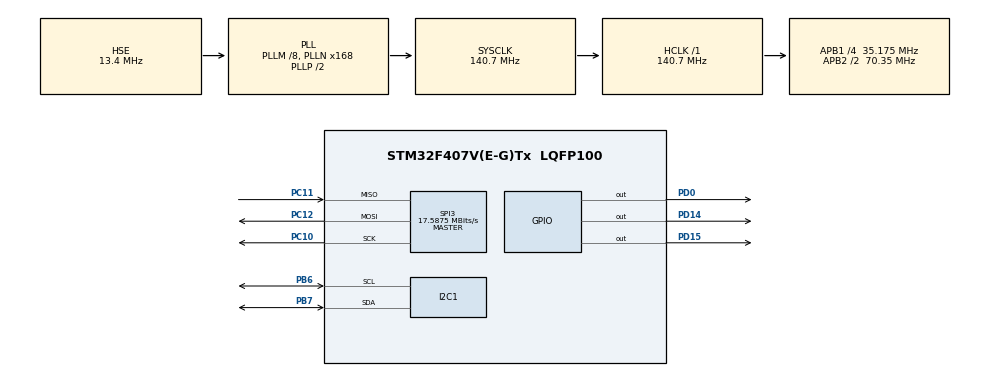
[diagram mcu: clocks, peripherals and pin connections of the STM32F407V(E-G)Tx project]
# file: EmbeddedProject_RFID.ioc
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I2C1.I2C_Mode=I2C_Fast
Mcu.Family=STM32F4
Mcu.Name=STM32F407V(E-G)Tx
Mcu.Package=LQFP100
NVIC.PriorityGroup=NVIC_PRIORITYGROUP_4
PB6.Mode=I2C
PB6.Signal=I2C1_SCL
PB7.Mode=I2C
PB7.Signal=I2C1_SDA
PC10.Mode=Full_Duplex_Master
PC10.Signal=SPI3_SCK
PC11.Mode=Full_Duplex_Master
PC11.Signal=SPI3_MISO
PC12.Mode=Full_Duplex_Master
PC12.Signal=SPI3_MOSI
PD0.Signal=GPIO_Output
PD14.Signal=GPIO_Output
PD15.Signal=GPIO_Output
PH0-OSC_IN.Mode=HSE-External-Oscillator
PH0-OSC_IN.Signal=RCC_OSC_IN
PH1-OSC_OUT.Mode=HSE-External-Oscillator
PH1-OSC_OUT.Signal=RCC_OSC_OUT
ProjectManager.HeapSize=0x200
ProjectManager.StackSize=0x400
ProjectManager.TargetToolchain=STM32CubeIDE
RCC.48MHZClocksFreq_Value=70350000
RCC.AHBFreq_Value=140700000
RCC.APB1CLKDivider=RCC_HCLK_DIV4
RCC.APB1Freq_Value=35175000
RCC.APB1TimFreq_Value=70350000
RCC.APB2CLKDivider=RCC_HCLK_DIV2
RCC.APB2Freq_Value=70350000
RCC.APB2TimFreq_Value=140700000
RCC.CortexFreq_Value=140700000
RCC.HCLKFreq_Value=140700000
RCC.HSE_VALUE=13400000
RCC.HSI_VALUE=16000000
RCC.LSE_VALUE=32768
RCC.PLLM=8
RCC.PLLN=168
RCC.PLLSourceVirtual=RCC_PLLSOURCE_HSE
RCC.SYSCLKFreq_VALUE=140700000
RCC.SYSCLKSource=RCC_SYSCLKSOURCE_PLLCLK
RCC.VCOOutputFreq_Value=281400000
SPI3.BaudRatePrescaler=SPI_BAUDRATEPRESCALER_2
SPI3.CalculateBaudRate=17.5875 MBits/s
SPI3.Direction=SPI_DIRECTION_2LINES
SPI3.Mode=SPI_MODE_MASTER
SPI3.VirtualType=VM_MASTER
VP_CRC_VS_CRC.Mode=CRC_Activate
board=custom

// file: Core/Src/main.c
/* USER CODE BEGIN Header */
/**
  ******************************************************************************
  * @file           : main.c
  * @brief          : Main program body
  ******************************************************************************
  * @attention
  *
  * Copyright (c) 2024 STMicroelectronics.
  * All rights reserved.
  *
  * This software is licensed under terms that can be found in the LICENSE file
  * in the root directory of this software component.
  * If no LICENSE file comes with this software, it is provided AS-IS.
  *
  ******************************************************************************
  */
/* USER CODE END Header */
#include "main.h"

/* USER CODE BEGIN Includes */
#include "rc522.h"
#include "i2c-lcd.h"
#include "ssd1306.h"
/* USER CODE END Includes */

CRC_HandleTypeDef hcrc;

I2C_HandleTypeDef hi2c1;

SPI_HandleTypeDef hspi3;

/* USER CODE BEGIN PV */
char CardID[4];
char MyCardID[4] = {343,263,227,179};
char lcd_buf[15];
/* USER CODE END PV */
//83,131
void SystemClock_Config(void);
static void MX_GPIO_Init(void);
static void MX_SPI3_Init(void);
static void MX_CRC_Init(void);
static void MX_I2C1_Init(void);

int main(void)
{

  /* MCU Configuration--------------------------------------------------------*/

  /* Reset of all peripherals, Initializes the Flash interface and the Systick. */
  HAL_Init();

  /* Configure the system clock */
  SystemClock_Config();

  /* Initialize all configured peripherals */
  MX_GPIO_Init();
  MX_SPI3_Init();
  MX_CRC_Init();
  MX_I2C1_Init();
  /* USER CODE BEGIN 2 */
  HAL_Delay(20);
  MFRC522_Init();
  ssd1306_Init();
  /* USER CODE END 2 */

  /* Infinite loop */
  while (1)
  {
	  //ssd1306_SetCursor(0,0);
	  	  	//ssd1306_WriteString(lcd_buf, Font_7x10 , White);
	  	  	RFID_Id_Check();
	  	  	//RFID_Id_Check();
	  	  	//ssd1306_UpdateScreen();

	    HAL_Delay(250);
  }
}

void SystemClock_Config(void)
{
  RCC_OscInitTypeDef RCC_OscInitStruct = {0};
  RCC_ClkInitTypeDef RCC_ClkInitStruct = {0};

  /** Configure the main internal regulator output voltage
  */
  __HAL_RCC_PWR_CLK_ENABLE();
  __HAL_PWR_VOLTAGESCALING_CONFIG(PWR_REGULATOR_VOLTAGE_SCALE1);

  /** Initializes the RCC Oscillators according to the specified parameters
  * in the RCC_OscInitTypeDef structure.
  */
  RCC_OscInitStruct.OscillatorType = RCC_OSCILLATORTYPE_HSE;
  RCC_OscInitStruct.HSEState = RCC_HSE_ON;
  RCC_OscInitStruct.PLL.PLLState = RCC_PLL_ON;
  RCC_OscInitStruct.PLL.PLLSource = RCC_PLLSOURCE_HSE;
  RCC_OscInitStruct.PLL.PLLM = 8;
  RCC_OscInitStruct.PLL.PLLN = 168;
  RCC_OscInitStruct.PLL.PLLP = RCC_PLLP_DIV2;
  RCC_OscInitStruct.PLL.PLLQ = 4;
  if (HAL_RCC_OscConfig(&RCC_OscInitStruct) != HAL_OK)
  {
    Error_Handler();
  }

  /** Initializes the CPU, AHB and APB buses clocks
  */
  RCC_ClkInitStruct.ClockType = RCC_CLOCKTYPE_HCLK|RCC_CLOCKTYPE_SYSCLK
                              |RCC_CLOCKTYPE_PCLK1|RCC_CLOCKTYPE_PCLK2;
  RCC_ClkInitStruct.SYSCLKSource = RCC_SYSCLKSOURCE_PLLCLK;
  RCC_ClkInitStruct.AHBCLKDivider = RCC_SYSCLK_DIV1;
  RCC_ClkInitStruct.APB1CLKDivider = RCC_HCLK_DIV4;
  RCC_ClkInitStruct.APB2CLKDivider = RCC_HCLK_DIV2;

  if (HAL_RCC_ClockConfig(&RCC_ClkInitStruct, FLASH_LATENCY_4) != HAL_OK)
  {
    Error_Handler();
  }
}

static void MX_CRC_Init(void)
{

  hcrc.Instance = CRC;
  if (HAL_CRC_Init(&hcrc) != HAL_OK)
  {
    Error_Handler();
  }

}

static void MX_I2C1_Init(void)
{

  hi2c1.Instance = I2C1;
  hi2c1.Init.ClockSpeed = 400000;
  hi2c1.Init.DutyCycle = I2C_DUTYCYCLE_2;
  hi2c1.Init.OwnAddress1 = 0;
  hi2c1.Init.AddressingMode = I2C_ADDRESSINGMODE_7BIT;
  hi2c1.Init.DualAddressMode = I2C_DUALADDRESS_DISABLE;
  hi2c1.Init.OwnAddress2 = 0;
  hi2c1.Init.GeneralCallMode = I2C_GENERALCALL_DISABLE;
  hi2c1.Init.NoStretchMode = I2C_NOSTRETCH_DISABLE;
  if (HAL_I2C_Init(&hi2c1) != HAL_OK)
  {
    Error_Handler();
  }

}

static void MX_SPI3_Init(void)
{

  /* SPI3 parameter configuration*/
  hspi3.Instance = SPI3;
  hspi3.Init.Mode = SPI_MODE_MASTER;
  hspi3.Init.Direction = SPI_DIRECTION_2LINES;
  hspi3.Init.DataSize = SPI_DATASIZE_8BIT;
  hspi3.Init.CLKPolarity = SPI_POLARITY_LOW;
  hspi3.Init.CLKPhase = SPI_PHASE_1EDGE;
  hspi3.Init.NSS = SPI_NSS_SOFT;
  hspi3.Init.BaudRatePrescaler = SPI_BAUDRATEPRESCALER_2;
  hspi3.Init.FirstBit = SPI_FIRSTBIT_MSB;
  hspi3.Init.TIMode = SPI_TIMODE_DISABLE;
  hspi3.Init.CRCCalculation = SPI_CRCCALCULATION_DISABLE;
  hspi3.Init.CRCPolynomial = 10;
  if (HAL_SPI_Init(&hspi3) != HAL_OK)
  {
    Error_Handler();
  }

}

static void MX_GPIO_Init(void)
{
  GPIO_InitTypeDef GPIO_InitStruct = {0};

  /* GPIO Ports Clock Enable */
  __HAL_RCC_GPIOH_CLK_ENABLE();
  __HAL_RCC_GPIOD_CLK_ENABLE();
  __HAL_RCC_GPIOC_CLK_ENABLE();
  __HAL_RCC_GPIOB_CLK_ENABLE();

  /*Configure GPIO pin Output Level */
  HAL_GPIO_WritePin(GPIOD, GPIO_PIN_14|GPIO_PIN_15|GPIO_PIN_0, GPIO_PIN_RESET);

  /*Configure GPIO pins : PD14 PD15 PD0 */
  GPIO_InitStruct.Pin = GPIO_PIN_14|GPIO_PIN_15|GPIO_PIN_0;
  GPIO_InitStruct.Mode = GPIO_MODE_OUTPUT_PP;
  GPIO_InitStruct.Pull = GPIO_NOPULL;
  GPIO_InitStruct.Speed = GPIO_SPEED_FREQ_LOW;
  HAL_GPIO_Init(GPIOD, &GPIO_InitStruct);

}

/* USER CODE BEGIN 4 */
void RFID_Id_Check()
{
if (MFRC522_Check(CardID) == MI_OK)
{
	HAL_GPIO_WritePin(GPIOD, GPIO_PIN_14, GPIO_PIN_RESET);

		if(MFRC522_Compare(CardID, MyCardID) == MI_OK)
		{
		HAL_GPIO_WritePin(GPIOD, GPIO_PIN_15, GPIO_PIN_RESET);

		//sprintf(lcd_buf,"Geçerli Giriş");
		//ssd1306_SetCursor(0,1);
		//sprintf(lcd_buf,"Card ID: %c", CardID);
		HAL_Delay(500);
		//HAL_GPIO_WritePin(GPIOD, GPIO_PIN_15, GPIO_PIN_RESET);
		}
	else
	{
		//sprintf(lcd_buf,"Geçersiz Giriş");
		//ssd1306_SetCursor(0,1);
		//sprintf(lcd_buf,"Card ID %c", CardID);
		HAL_GPIO_WritePin(GPIOD, GPIO_PIN_15, GPIO_PIN_SET);
	}
}
else
{
	HAL_GPIO_WritePin(GPIOD, GPIO_PIN_14, GPIO_PIN_SET);

}

}
/* USER CODE END 4 */

void Error_Handler(void)
{
  __disable_irq();
  while (1)
  {
  }
}
